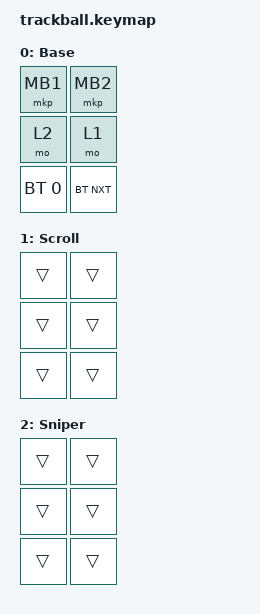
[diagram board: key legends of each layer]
#include "keys_ru.h"
#include <dt-bindings/zmk/input_transform.h>
#include <input/processors.dtsi>
#include <zephyr/dt-bindings/input/input-event-codes.h>
#include <behaviors.dtsi>
#include <dt-bindings/zmk/bt.h>
#include <dt-bindings/zmk/pointing.h>

/ {
    combos {
        compatible = "zmk,combos";

        base_combo {
            bindings = <&mkp MB3>;
            key-positions = <0 1>;
        };
    };

    keymap {
        compatible = "zmk,keymap";

        base {
            bindings = <
&mkp MB1      &mkp MB2
&mo 2         &mo 1
&bt BT_SEL 0  &bt BT_NXT
            >;

            display-name = "Base";
        };

        scroll {
            bindings = <
&trans  &trans
&trans  &trans
&trans  &trans
            >;

            display-name = "Scroll";
        };

        sniper {
            bindings = <
&trans  &trans
&trans  &trans
&trans  &trans
            >;

            display-name = "Sniper";
        };
    };
};

&trackball { cpi = <1000>; };

&trackball_listener {
    input-processors = <&zip_xy_scaler 9 20>;

    scroller {
        layers = <1>;
        input-processors =
            <&zip_xy_transform INPUT_TRANSFORM_Y_INVERT>,
            <&zip_xy_scaler 1 32>,
            <&zip_xy_to_scroll_mapper>;
    };

    sniper {
        layers = <2>;
        input-processors = <&zip_xy_scaler 1 4>;
    };

    adjust {
        layers = <3>;
        input-processors = <&zip_xy_scaler 1 8>;
    };
};
